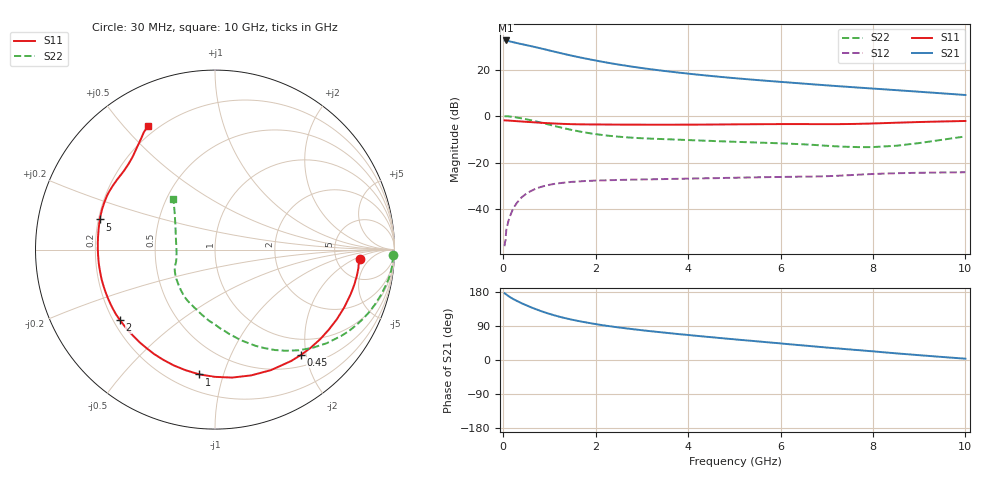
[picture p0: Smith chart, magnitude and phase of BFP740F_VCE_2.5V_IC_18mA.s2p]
! Infineon Technologies  Discrete & RF Semiconductors
! BFP740F
! VCE =  2.5 V,  IC =  18 mA
! Common Emitter S-Parameters:  Oct 2012
# GHz  S  MA  R  50
!  f  S11  S21  S12  S22
! GHz  MAG  ANG  MAG  ANG  MAG  ANG  MAG  ANG
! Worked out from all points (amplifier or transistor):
!   99 points, 30 MHz to 10 GHz, reference 50 ohm
!   highest |S21| = 32.5 dB at 50 MHz (marker M1)
!   |S21| within 3 dB of that: start of sweep to 724 MHz
!   unconditionally stable (mu >= 1): 6.01 GHz to end of sweep
!   at 350 MHz: K = 0.13, MSG = 33.6 dB, |S12| = -36.0 dB
!   at 3.5 GHz: K = 0.65, MSG = 23.2 dB, |S12| = -27.1 dB
!   at 10 GHz: K = 1.22, MAG = 13.8 dB, |S12| = -24.2 dB
!   S11 on the Smith chart (normalised r, x): 30 MHz: 8.68, -2.54; 450 MHz: 0.70, -1.91; 1 GHz: 0.31, -0.84; 2 GHz: 0.23, -0.31; 5 GHz: 0.21, +0.12; 10 GHz: 0.16, +0.59
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0.03  0.8082 -3.6  41.97 176.3  0.0016 82.1  0.9912 -1.9
0.05  0.8046 -6.1  42.1 174.5  0.0021 80.4  0.9912 -3.7
0.1  0.8012 -12.3  41.2 169.8  0.0049 78.9  0.9862 -7.7
0.2  0.7888 -24.0  38.93 162.0  0.0095 77.6  0.9597 -15.1
0.3  0.7754 -35.0  36.92 155.6  0.0138 72.6  0.9279 -21.9
0.45  0.7576 -50.6  34.25 147.0  0.0197 64.7  0.8739 -31.2
0.6  0.7402 -65.2  31.8 139.2  0.0245 58.4  0.8126 -39.9
0.7  0.7292 -74.0  30.18 134.4  0.0273 54.5  0.7712 -45.2
0.8  0.7193 -82.4  28.62 129.8  0.0297 50.6  0.73 -50.2
1  0.7008 -97.1  25.64 121.7  0.0333 44.2  0.6514 -59.2
1.3  0.6783 -115.2  21.81 111.6  0.0369 37.1  0.5505 -70.7
1.5  0.6684 -124.9  19.67 106.1  0.0386 33.6  0.4984 -77.3
1.7  0.6624 -133.2  17.85 101.2  0.0398 30.8  0.456 -83.3
2  0.6591 -143.6  15.62 94.8  0.0411 27.5  0.4088 -92.0
2.5  0.6548 -156.7  12.76 85.9  0.0423 23.9  0.36 -104.1
3.4  0.652 -173.3  9.546 73.3  0.0441 20.7  0.3213 -119.1
4.2  0.6545 175.4  7.772 63.6  0.0456 19.7  0.2996 -128.2
5  0.663 165.3  6.529 54.6  0.0472 18.9  0.2799 -137.1
5.1  0.6646 164.2  6.399 53.5  0.0474 19.0  0.2778 -138.4
6.7  0.6704 145.9  4.805 36.2  0.0501 18.8  0.2404 -157.7
8.5  0.7188 127.0  3.603 17.6  0.0591 17.4  0.2301 161.6
10  0.7837 118.3  2.835 3.4  0.062 12.9  0.3648 129.4
